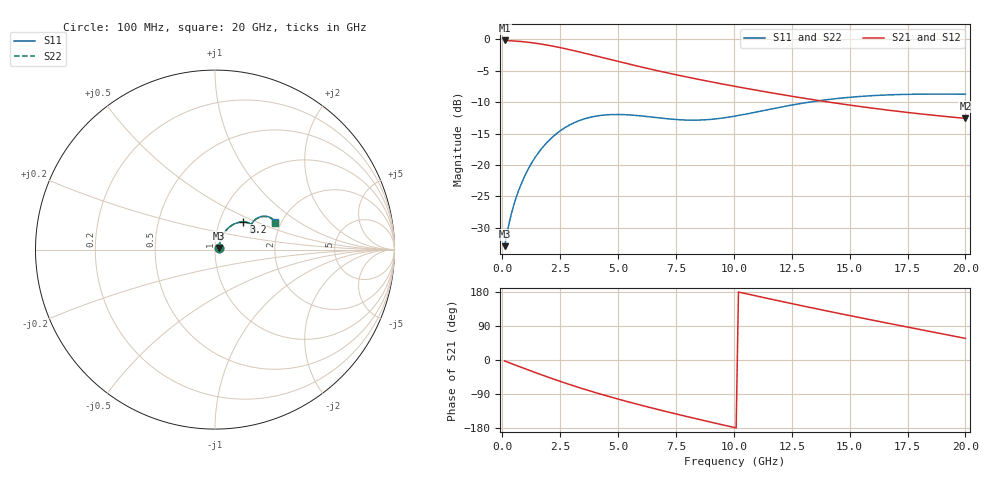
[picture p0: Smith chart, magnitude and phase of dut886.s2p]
! Touchstone file exported from HFSS 2024.1.0
!  File:  C:/UserFiles/LocalFiles/RDL_TSV_Batchsim/temp_RDL_TSV_886_1779931044.aedt
!  Generated:  09:34:26 AM May 28, 2026
!  Design:  RDL_TSV
!  Project:  temp_RDL_TSV_886_1779931044
!  Setup:  Setup1
!  Solution:  Sweep
! Variables:
!  dtsv = 5.95um
!  hbump = 3um
!  htsv = 67.46um
!  ldown = 689.88um
!  lrdl = 678.49um
!  p = 40
!  p1 = 52.99um
!  rhole = 10um
!  subl = 4783.6um
!  t = 450um
!  tdown = 3.44um
!  trdl = 4.3um
!  viad = 10um
!  wdown = 29.27um
!  wrdl = 19.41um
!  xbump = 18um
# GHz S MA R 50.000000
! Terminal data exported
! Port[1] = TM1_1_T1
! Port[2] = TM1_4_T1
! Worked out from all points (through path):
!   200 points, 100 MHz to 20 GHz, reference 50 ohm
!   highest |S21| = -0.18 dB at 100 MHz (marker M1); lowest = -12.6 dB at 20 GHz (marker M2)
!   group delay of S21, straight-line fit = 40.3 ps
!   lowest |S11| = -32.9 dB at 100 MHz (marker M3), VSWR 1.05, Z = 52.1 + j0.955 ohm
!   |S11| at or under -10 dB: start of sweep to 13.26 GHz
!   |S22| runs from -32.9 to -8.8 dB; largest |S21 - S12| = 2.4e-14
!   S11 on the Smith chart (normalised r, x): 100 MHz: 1.04, +0.02; 3.2 GHz: 1.30, +0.42; 20 GHz: 1.85, +0.65
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0.1  0.02256 24.0  0.9793 -2.5  0.9793 -2.5  0.02256 24.0
! Gamma 0 0 0 0
! Port Impedance 50 0 50 0
0.3  0.03479 46.0  0.9753 -7.2  0.9753 -7.2  0.03479 46.0
0.5  0.04815 54.6  0.9702 -11.9  0.9702 -11.9  0.04816 54.5
0.8  0.06927 60.1  0.9607 -18.9  0.9607 -18.9  0.06926 60.0
1.2  0.09859 61.5  0.9436 -28.0  0.9436 -28.0  0.09854 61.4
1.7  0.1349 59.1  0.9155 -39.2  0.9155 -39.2  0.1348 59.1
2.2  0.1687 54.8  0.8814 -50.1  0.8814 -50.1  0.1684 54.7
2.7  0.1977 49.6  0.8435 -60.5  0.8435 -60.5  0.1973 49.6
3.2  0.2207 44.3  0.8038 -70.5  0.8038 -70.5  0.2202 44.2
3.5  0.2313 41.2  0.7798 -76.3  0.7798 -76.3  0.2308 41.1
4.3  0.2484 33.7  0.7175 -91.0  0.7175 -91.0  0.2479 33.7
5.1  0.252 28.0  0.6598 -104.8  0.6598 -104.8  0.2515 28.0
5.9  0.2467 24.5  0.6082 -117.8  0.6082 -117.8  0.2463 24.5
6.8  0.2366 23.4  0.5574 -131.8  0.5574 -131.8  0.2364 23.4
7.5  0.23 24.5  0.5226 -142.3  0.5226 -142.3  0.23 24.5
8.3  0.2272 27.3  0.4871 -154.0  0.4871 -154.0  0.2273 27.3
10.1  0.2458 34.5  0.4205 -179.2  0.4205 -179.2  0.2458 34.3
11.7  0.2811 36.8  0.3728 159.3  0.3728 159.3  0.2808 36.6
13.4  0.3191 35.4  0.3313 137.2  0.3313 137.2  0.3183 35.1
15  0.3455 32.2  0.2995 117.2  0.2995 117.2  0.3444 32.0
16.7  0.3612 28.7  0.2724 96.5  0.2724 96.5  0.3599 28.5
20  0.3661 24.5  0.2348 57.1  0.2348 57.1  0.3644 24.4
